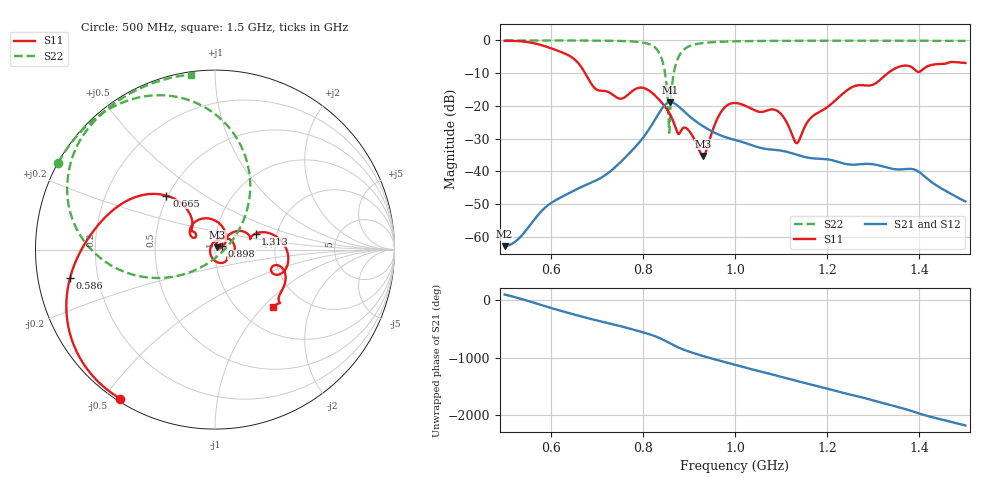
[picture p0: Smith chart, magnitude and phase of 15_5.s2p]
! TOUCHSTONE file generated by CST MICROWAVE STUDIO
! Date and time: Mon Oct 26 12:26:38 2020
! Project name: Scenario_1_Circular_Tissue_out_of_Line.cst
! Parameters = {dy1=-103.226; L_HA=400; MT=2.54; Rad_Dielectric=30; Rad_Lower=7.3; Rad_Upper=30; a_HA=580; a_WG=246; b_HA=500; b_WG=121; c_HA=0; c_WG=187; d_feed=85; dx1=866; h_feed=15; h_lower=18; h_upper=40}
! Header version: 2018
! Port assignment regex: !\s*Touchstone port\s*([0-9]+)\s*=\s*(CST MWS port|CST DS port)\s*([0-9]+|Zmin|Zmax)\s*\(\"(.*)\"\)(\s*mode\s*([0-9]+))?.*
! Touchstone port assignment:
! Touchstone port 1 = CST MWS port 1 ("")
! Touchstone port 2 = CST MWS port 2 ("")
# GHz S DB R 50
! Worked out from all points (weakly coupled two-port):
!   1001 points, 500 MHz to 1.5 GHz, reference 50 ohm
!   highest |S21| = -18.89 dB at 860 MHz (marker M1); lowest = -62.9 dB at 500 MHz (marker M2)
!   lowest |S11| = -35.3 dB at 931 MHz (marker M3), VSWR 1.04, Z = 51.2 + j1.21 ohm
!   |S11| at or under -10 dB: 674.7 MHz to 1.332 GHz (657 MHz wide, 65.5 % of centre)
!   |S22| runs from -28.3 to 0.0 dB; largest |S21 - S12| = 6.1e-06
!   S11 on the Smith chart (normalised r, x): 500 MHz: 0.01, -0.55; 586 MHz: 0.10, -0.10; 665 MHz: 0.49, +0.35; 898 MHz: 1.08, +0.04; 1.313 GHz: 1.55, +0.29; 1.5 GHz: 1.42, -1.13
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0.5  -0.14 -122.4  -62.88 98.7  -62.88 98.7  -0.01 151.1
0.586  -1.69 -169.0  -51.34 -98.6  -51.34 -98.6  -0.02 145.2
0.665  -7.85 132.0  -44.89 80.4  -44.89 80.4  -0.04 138.6
0.667  -8.26 130.4  -44.76 76.0  -44.76 76.0  -0.04 138.4
0.702  -15.17 137.5  -42.54 3.8  -42.54 3.8  -0.07 134.6
0.78  -15.20 143.9  -33.10 -152.8  -33.10 -152.8  -0.34 120.3
0.834  -17.91 68.1  -22.43 69.0  -22.43 69.0  -3.45 82.4
0.848  -20.24 50.0  -19.72 15.6  -19.72 15.6  -9.76 54.6
0.855  -21.66 41.1  -19.03 -14.2  -19.03 -14.2  -20.85 22.7
0.86  -22.86 35.0  -18.89 -35.6  -18.89 -35.6  -20.07 -122.0
0.873  -27.49 29.3  -19.66 -87.9  -19.66 -87.9  -6.60 -162.2
0.898  -27.24 26.4  -22.79 -168.3  -22.79 -168.3  -1.97 169.6
0.931  -35.29 43.5  -26.24 107.6  -26.24 107.6  -0.79 153.9
0.968  -22.25 56.4  -28.97 24.7  -28.97 24.7  -0.41 145.2
1  -19.13 5.8  -30.41 -43.9  -30.41 -43.9  -0.27 140.2
1.092  -21.56 -63.0  -33.52 123.8  -33.52 123.8  -0.13 130.4
1.133  -31.37 176.2  -34.90 35.7  -34.90 35.7  -0.11 126.9
1.167  -23.34 62.3  -36.00 -31.4  -36.00 -31.4  -0.10 124.2
1.313  -12.27 21.5  -38.23 24.7  -38.23 24.7  -0.08 113.1
1.334  -9.76 15.6  -39.02 -20.5  -39.02 -20.5  -0.09 111.5
1.392  -9.16 -22.4  -39.61 -152.5  -39.61 -152.5  -0.10 107.0
1.5  -6.89 -44.6  -49.18 -20.3  -49.17 -20.3  -0.13 97.9
